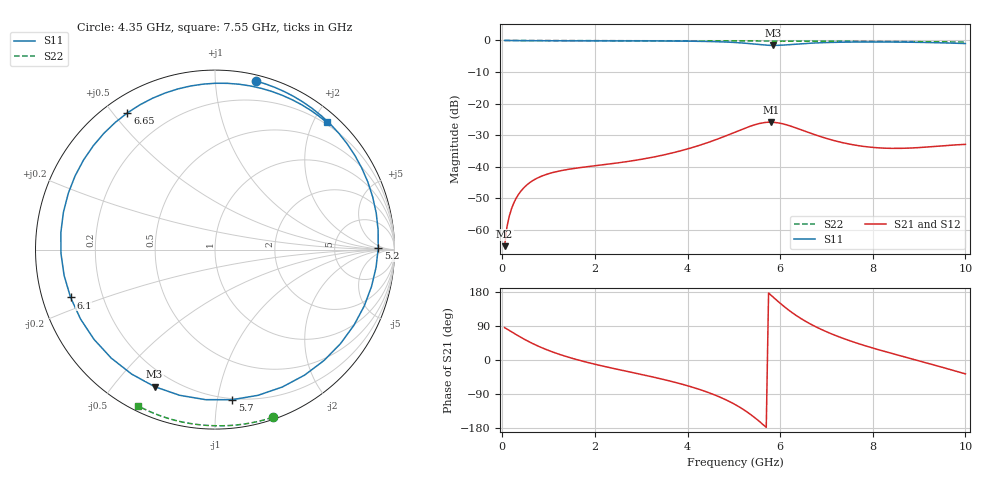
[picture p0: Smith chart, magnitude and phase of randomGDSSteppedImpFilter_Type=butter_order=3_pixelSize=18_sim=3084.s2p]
! freq	dB(S11)	phase(S11)	dB(S12)	phase(S12)
!  dB(S21)	phase(S21)	dB(S22)	phase(S22)
!S-par simulation data
#  GHz  S  DB  R 50
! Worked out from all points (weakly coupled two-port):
!   200 points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, 50 MHz to 10 GHz, reference 50 ohm
!   highest |S21| = -25.89 dB at 5.8 GHz (marker M1); lowest = -65.2 dB at 50 MHz (marker M2)
!   lowest |S11| = -1.6 dB at 5.85 GHz (marker M3), VSWR 11.07, Z = 6.41 - j32.2 ohm
!   |S11| at or under -10 dB: nowhere
!   |S22| runs from -0.5 to 0.0 dB; largest |S21 - S12| = 0
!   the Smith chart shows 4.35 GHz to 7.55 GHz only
!   S11 on the Smith chart (normalised r, x): 4.35 GHz: 0.04, +1.27; 5.2 GHz: 21, +2; 5.7 GHz: 0.19, -1.10; 6.1 GHz: 0.08, -0.16; 6.65 GHz: 0.06, +0.55; 7.55 GHz: 0.17, +2.20
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0.05  -0.00 -7.1  -65.16 85.4  -65.16 85.4  -0.00 -0.9
0.25  -0.05 -34.4  -51.43 70.6  -51.43 70.6  -0.01 -4.3
0.7  -0.09 -86.8  -44.03 40.8  -44.03 40.8  -0.02 -12.0
1.2  -0.11 -128.4  -41.45 16.3  -41.45 16.3  -0.03 -20.5
1.75  -0.11 -161.2  -40.14 -3.6  -40.14 -3.6  -0.04 -29.7
2.55  -0.12 161.7  -38.67 -26.3  -38.67 -26.3  -0.06 -42.8
3.4  -0.16 125.2  -36.53 -49.0  -36.53 -49.0  -0.08 -56.4
4.35  -0.30 76.2  -32.78 -81.5  -32.78 -81.5  -0.10 -71.0
5.05  -0.67 18.5  -28.90 -119.1  -28.90 -119.1  -0.13 -81.4
5.2  -0.83 0.5  -28.02 -130.1  -28.02 -130.1  -0.14 -83.6
5.45  -1.17 -36.8  -26.71 -152.0  -26.71 -152.0  -0.15 -87.2
5.7  -1.50 -83.4  -25.95 -177.8  -25.95 -177.8  -0.17 -90.7
5.8  -1.56 -103.7  -25.89 171.3  -25.89 171.3  -0.17 -92.1
5.85  -1.57 -113.8  -25.92 165.8  -25.92 165.8  -0.17 -92.8
6.1  -1.43 -161.7  -26.57 139.7  -26.57 139.7  -0.18 -96.3
6.65  -0.87 122.6  -29.35 95.2  -29.35 95.2  -0.21 -103.9
6.7  -0.83 117.4  -29.60 92.0  -29.60 92.0  -0.21 -104.6
7.1  -0.62 81.7  -31.46 69.4  -31.46 69.4  -0.23 -110.0
7.55  -0.51 48.7  -32.98 48.9  -32.98 48.9  -0.26 -116.1
8.35  -0.49 -2.3  -34.16 19.4  -34.16 19.4  -0.33 -126.7
9.25  -0.67 -56.4  -33.67 -10.6  -33.67 -10.6  -0.42 -138.5
10  -0.98 -102.0  -32.91 -36.6  -32.91 -36.6  -0.51 -148.6
